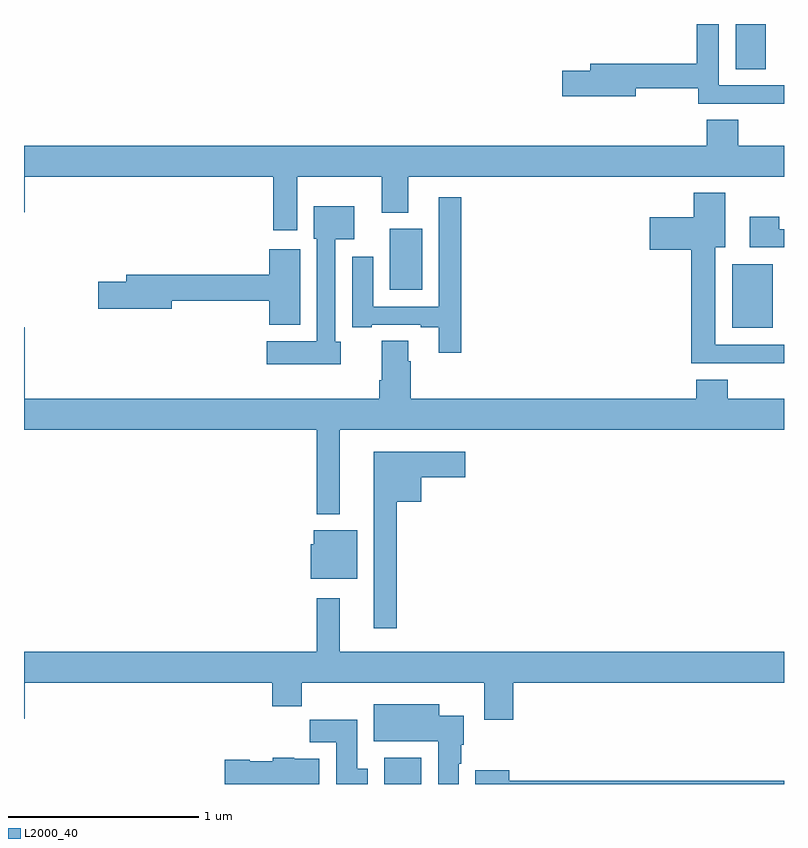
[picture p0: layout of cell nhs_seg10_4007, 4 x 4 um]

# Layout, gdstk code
import gdstk
lib = gdstk.Library(unit=1e-6, precision=1e-09)
def R(c, l, rs):  # rectangles x0, y0, x1, y1
    for r in rs: c.add(gdstk.rectangle(r[:2], r[2:], *l))
def P(c, l, *ps):  # polygons
    for p in ps: c.add(gdstk.Polygon(p, *l))
L2000_40 = (2000, 40)

nhs_seg10_4007 = lib.new_cell('nhs_seg10_4007')
R(nhs_seg10_4007, L2000_40, [(334.895,1250.5,335.092,1250.638), (336.728,1252.901,336.94,1253.236), (334.925,1253.102,335.095,1253.422), (336.746,1254.262,336.904,1254.5)])
P(nhs_seg10_4007, L2000_40, [(337,1254.177),(336.657,1254.177),(336.657,1254.5),(336.541,1254.5),(336.541,1254.29),(335.981,1254.29),(335.981,1254.254),(335.832,1254.254),(335.832,1254.119),(336.22,1254.119),(336.22,1254.162),(336.549,1254.162),(336.549,1254.081),(336.841,1254.081),(336.841,1254.079),(337,1254.079)],
  [(334.438,1253.696),(334.883,1253.696),(334.883,1253.507),(335.023,1253.507),(335.023,1253.696),(337,1253.696),(337,1253.86),(336.758,1253.86),(336.758,1253.996),(336.593,1253.996),(336.593,1253.86),(333,1253.86),(333,1253.508),(333.004,1253.508),(333.004,1253.696),(334.313,1253.696),(334.313,1253.415),(334.438,1253.415)],
  [(337,1252.812),(336.637,1252.812),(336.637,1253.324),(336.691,1253.324),(336.691,1253.611),(336.524,1253.611),(336.524,1253.482),(336.294,1253.482),(336.294,1253.312),(336.512,1253.312),(336.512,1252.715),(337,1252.715)],
  [(335.3,1253.587),(335.184,1253.587),(335.184,1253.013),(334.837,1253.013),(334.837,1253.275),(334.727,1253.275),(334.727,1252.905),(334.831,1252.905),(334.831,1252.917),(335.087,1252.917),(335.087,1252.905),(335.183,1252.905),(335.183,1252.77),(335.3,1252.77)],
  [(334.666,1252.827),(334.638,1252.827),(334.638,1253.366),(334.738,1253.366),(334.738,1253.542),(334.526,1253.542),(334.526,1253.37),(334.542,1253.37),(334.542,1252.831),(334.278,1252.831),(334.278,1252.709),(334.666,1252.709)],
  [(337,1253.421),(336.975,1253.421),(336.975,1253.485),(336.819,1253.485),(336.819,1253.325),(337,1253.325)],
  [(334.453,1253.314),(334.292,1253.314),(334.292,1253.18),(333.539,1253.18),(333.539,1253.144),(333.39,1253.144),(333.39,1253.002),(333.778,1253.002),(333.778,1253.044),(334.292,1253.044),(334.292,1252.916),(334.453,1252.916)],
  [(334.663,1252.364),(337,1252.364),(337,1252.528),(336.704,1252.528),(336.704,1252.627),(336.539,1252.627),(336.539,1252.528),(335.036,1252.528),(335.036,1252.724),(335.023,1252.724),(335.023,1252.832),(334.883,1252.832),(334.883,1252.624),(334.871,1252.624),(334.871,1252.528),(333.004,1252.528),(333.004,1252.903),(333,1252.903),(333,1252.364),(334.542,1252.364),(334.542,1251.92),(334.663,1251.92)],
  [(334.963,1251.986),(335.092,1251.986),(335.092,1252.115),(335.323,1252.115),(335.323,1252.249),(334.841,1252.249),(334.841,1251.321),(334.963,1251.321)],
  [(334.753,1251.835),(334.526,1251.835),(334.526,1251.762),(334.508,1251.762),(334.508,1251.581),(334.753,1251.581)],
  [(335.576,1251.032),(337,1251.032),(337,1251.196),(334.663,1251.196),(334.663,1251.478),(334.542,1251.478),(334.542,1251.196),(333,1251.196),(333,1250.844),(333.004,1250.844),(333.004,1251.032),(334.307,1251.032),(334.307,1250.908),(334.463,1250.908),(334.463,1251.032),(335.423,1251.032),(335.423,1250.838),(335.576,1250.838)],
  [(335.287,1250.606),(335.302,1250.606),(335.302,1250.706),(335.314,1250.706),(335.314,1250.86),(335.185,1250.86),(335.185,1250.92),(334.841,1250.92),(334.841,1250.726),(335.18,1250.726),(335.18,1250.5),(335.287,1250.5)],
  [(334.81,1250.58),(334.753,1250.58),(334.753,1250.838),(334.504,1250.838),(334.504,1250.72),(334.643,1250.72),(334.643,1250.5),(334.81,1250.5)],
  [(334.555,1250.632),(334.422,1250.632),(334.422,1250.638),(334.308,1250.638),(334.308,1250.62),(334.188,1250.62),(334.188,1250.628),(334.056,1250.628),(334.056,1250.5),(334.555,1250.5)],
  [(337,1250.516),(335.554,1250.516),(335.554,1250.572),(335.375,1250.572),(335.375,1250.5),(337,1250.5)])

lib.write_gds('nhs_seg10_4007.gds')
